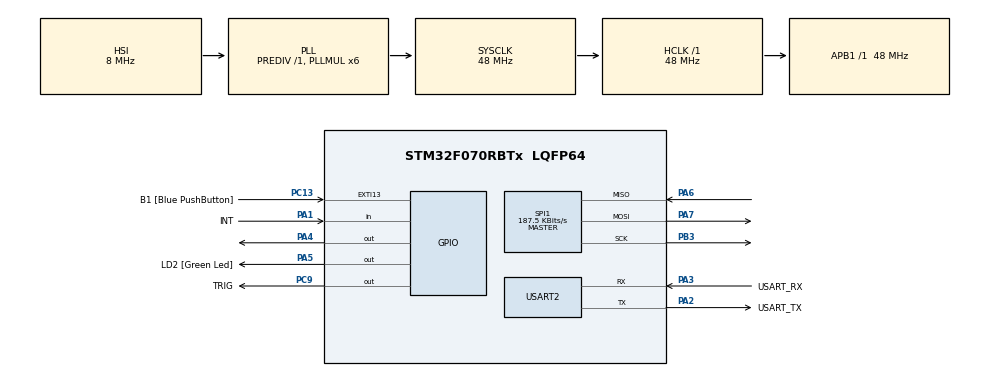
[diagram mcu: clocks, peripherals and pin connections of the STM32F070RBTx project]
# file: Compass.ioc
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FREERTOS.Tasks01=defaultTask,0,128,StartDefaultTask,Default
Mcu.Family=STM32F0
Mcu.Name=STM32F070RBTx
Mcu.Package=LQFP64
NVIC.TIM1_BRK_UP_TRG_COM_IRQn=true\:0\:0\:false
NVIC.TimeBase=TIM1_BRK_UP_TRG_COM_IRQn
NVIC.TimeBaseIP=TIM1
PA1.GPIO_Label=INT
PA1.Signal=GPIO_Input
PA13.GPIO_Label=TMS
PA13.Mode=Serial-WireDebug
PA13.Signal=SYS_SWDIO
PA14.GPIO_Label=TCK
PA14.Mode=Serial-WireDebug
PA14.Signal=SYS_SWCLK
PA2.GPIO_Label=USART_TX
PA2.Mode=Asynchronous
PA2.Signal=USART2_TX
PA3.GPIO_Label=USART_RX
PA3.Mode=Asynchronous
PA3.Signal=USART2_RX
PA4.Signal=GPIO_Output
PA5.GPIO_Label=LD2 [Green Led]
PA5.Signal=GPIO_Output
PA6.Mode=Full_Duplex_Master
PA6.Signal=SPI1_MISO
PA7.Mode=Full_Duplex_Master
PA7.Signal=SPI1_MOSI
PB3.Mode=Full_Duplex_Master
PB3.Signal=SPI1_SCK
PC13.GPIO_Label=B1 [Blue PushButton]
PC13.GPIO_ModeDefaultEXTI=GPIO_MODE_EVT_RISING
PC13.Signal=GPXTI13
PC9.GPIO_Label=TRIG
PC9.Signal=GPIO_Output
ProjectManager.HeapSize=0x400
ProjectManager.StackSize=0x200
ProjectManager.TargetToolchain=SW4STM32
RCC.AHBFreq_Value=48000000
RCC.APB1Freq_Value=48000000
RCC.APB1TimFreq_Value=48000000
RCC.HCLKFreq_Value=48000000
RCC.PLLMUL=RCC_PLL_MUL6
RCC.SYSCLKFreq_VALUE=48000000
RCC.SYSCLKSource=RCC_SYSCLKSOURCE_PLLCLK
SPI1.BaudRatePrescaler=SPI_BAUDRATEPRESCALER_256
SPI1.CLKPhase=SPI_PHASE_2EDGE
SPI1.CLKPolarity=SPI_POLARITY_HIGH
SPI1.CalculateBaudRate=187.5 KBits/s
SPI1.DataSize=SPI_DATASIZE_8BIT
SPI1.Mode=SPI_MODE_MASTER
VP_FREERTOS_VS_ENABLE.Mode=Enabled
VP_SYS_VS_tim1.Mode=TIM1
board=NUCLEO-F070RB

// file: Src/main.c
/**
  ******************************************************************************
  * File Name          : main.c
  * Description        : Main program body
  ******************************************************************************
  *
  * COPYRIGHT(c) 2016 STMicroelectronics
  *
  * Redistribution and use in source and binary forms, with or without modification,
  * are permitted provided that the following conditions are met:
  *   1. Redistributions of source code must retain the above copyright notice,
  *      this list of conditions and the following disclaimer.
  *   2. Redistributions in binary form must reproduce the above copyright notice,
  *      this list of conditions and the following disclaimer in the documentation
  *      and/or other materials provided with the distribution.
  *   3. Neither the name of STMicroelectronics nor the names of its contributors
  *      may be used to endorse or promote products derived from this software
  *      without specific prior written permission.
  *
  * THIS SOFTWARE IS PROVIDED BY THE COPYRIGHT HOLDERS AND CONTRIBUTORS "AS IS"
  * AND ANY EXPRESS OR IMPLIED WARRANTIES, INCLUDING, BUT NOT LIMITED TO, THE
  * IMPLIED WARRANTIES OF MERCHANTABILITY AND FITNESS FOR A PARTICULAR PURPOSE ARE
  * DISCLAIMED. IN NO EVENT SHALL THE COPYRIGHT HOLDER OR CONTRIBUTORS BE LIABLE
  * FOR ANY DIRECT, INDIRECT, INCIDENTAL, SPECIAL, EXEMPLARY, OR CONSEQUENTIAL
  * DAMAGES (INCLUDING, BUT NOT LIMITED TO, PROCUREMENT OF SUBSTITUTE GOODS OR
  * SERVICES; LOSS OF USE, DATA, OR PROFITS; OR BUSINESS INTERRUPTION) HOWEVER
  * CAUSED AND ON ANY THEORY OF LIABILITY, WHETHER IN CONTRACT, STRICT LIABILITY,
  * OR TORT (INCLUDING NEGLIGENCE OR OTHERWISE) ARISING IN ANY WAY OUT OF THE USE
  * OF THIS SOFTWARE, EVEN IF ADVISED OF THE POSSIBILITY OF SUCH DAMAGE.
  *
  ******************************************************************************
  */
#include "stm32f0xx_hal.h"
#include "cmsis_os.h"

/* USER CODE BEGIN Includes */
#include <stdlib.h>
#include <math.h>
// disable optimizations
#pragma GCC push_options
#pragma GCC optimize ("O0")
// cross-platform macros
#define COMP_CS GPIO_PIN_4
#define COMP_CS_P GPIOA
#define COMP_INT GPIO_PIN_1
#define COMP_INT_P GPIOA

#define COMP_RR	1

/* USER CODE END Includes */

SPI_HandleTypeDef hspi1;

UART_HandleTypeDef huart2;

osThreadId defaultTaskHandle;

/* USER CODE BEGIN PV */
/* Private variables ---------------------------------------------------------*/

/* USER CODE END PV */

void SystemClock_Config(void);
static void MX_GPIO_Init(void);
static void MX_USART2_UART_Init(void);
static void MX_SPI1_Init(void);
void StartDefaultTask(void const * argument);

/* USER CODE BEGIN PFP */
/* Private function prototypes -----------------------------------------------*/

/* USER CODE END PFP */

int main(void)
{

  /* MCU Configuration----------------------------------------------------------*/

  /* Reset of all peripherals, Initializes the Flash interface and the Systick. */
  HAL_Init();

  /* Configure the system clock */
  SystemClock_Config();

  /* Initialize all configured peripherals */
  MX_GPIO_Init();
  MX_USART2_UART_Init();
  MX_SPI1_Init();

  /* Create the thread(s) */
  /* definition and creation of defaultTask */
  osThreadDef(defaultTask, StartDefaultTask, osPriorityNormal, 0, 128);
  defaultTaskHandle = osThreadCreate(osThread(defaultTask), NULL);

  /* Start scheduler */
  osKernelStart();

  /* We should never get here as control is now taken by the scheduler */

  /* Infinite loop */
  while (1)
  {

  }

}

/** System Clock Configuration
*/
void SystemClock_Config(void)
{

  RCC_OscInitTypeDef RCC_OscInitStruct;
  RCC_ClkInitTypeDef RCC_ClkInitStruct;

  RCC_OscInitStruct.OscillatorType = RCC_OSCILLATORTYPE_HSI;
  RCC_OscInitStruct.HSIState = RCC_HSI_ON;
  RCC_OscInitStruct.HSICalibrationValue = 16;
  RCC_OscInitStruct.PLL.PLLState = RCC_PLL_ON;
  RCC_OscInitStruct.PLL.PLLSource = RCC_PLLSOURCE_HSI;
  RCC_OscInitStruct.PLL.PLLMUL = RCC_PLL_MUL6;
  RCC_OscInitStruct.PLL.PREDIV = RCC_PREDIV_DIV1;
  HAL_RCC_OscConfig(&RCC_OscInitStruct);

  RCC_ClkInitStruct.ClockType = RCC_CLOCKTYPE_HCLK|RCC_CLOCKTYPE_SYSCLK
                              |RCC_CLOCKTYPE_PCLK1;
  RCC_ClkInitStruct.SYSCLKSource = RCC_SYSCLKSOURCE_PLLCLK;
  RCC_ClkInitStruct.AHBCLKDivider = RCC_SYSCLK_DIV1;
  RCC_ClkInitStruct.APB1CLKDivider = RCC_HCLK_DIV1;
  HAL_RCC_ClockConfig(&RCC_ClkInitStruct, FLASH_LATENCY_1);

  HAL_SYSTICK_Config(HAL_RCC_GetHCLKFreq()/1000);

  HAL_SYSTICK_CLKSourceConfig(SYSTICK_CLKSOURCE_HCLK);

  /* SysTick_IRQn interrupt configuration */
  HAL_NVIC_SetPriority(SysTick_IRQn, 3, 0);
}

/* SPI1 init function */
void MX_SPI1_Init(void)
{

  hspi1.Instance = SPI1;
  hspi1.Init.Mode = SPI_MODE_MASTER;
  hspi1.Init.Direction = SPI_DIRECTION_2LINES;
  hspi1.Init.DataSize = SPI_DATASIZE_8BIT;
  hspi1.Init.CLKPolarity = SPI_POLARITY_HIGH;
  hspi1.Init.CLKPhase = SPI_PHASE_2EDGE;
  hspi1.Init.NSS = SPI_NSS_SOFT;
  hspi1.Init.BaudRatePrescaler = SPI_BAUDRATEPRESCALER_256;
  hspi1.Init.FirstBit = SPI_FIRSTBIT_MSB;
  hspi1.Init.TIMode = SPI_TIMODE_DISABLED;
  hspi1.Init.CRCCalculation = SPI_CRCCALCULATION_DISABLED;
  hspi1.Init.CRCPolynomial = 7;
  hspi1.Init.CRCLength = SPI_CRC_LENGTH_DATASIZE;
  hspi1.Init.NSSPMode = SPI_NSS_PULSE_DISABLED;
  HAL_SPI_Init(&hspi1);

}

/* USART2 init function */
void MX_USART2_UART_Init(void)
{

  huart2.Instance = USART2;
  huart2.Init.BaudRate = 38400;
  huart2.Init.WordLength = UART_WORDLENGTH_8B;
  huart2.Init.StopBits = UART_STOPBITS_1;
  huart2.Init.Parity = UART_PARITY_NONE;
  huart2.Init.Mode = UART_MODE_TX_RX;
  huart2.Init.HwFlowCtl = UART_HWCONTROL_NONE;
  huart2.Init.OverSampling = UART_OVERSAMPLING_16;
  huart2.Init.OneBitSampling = UART_ONEBIT_SAMPLING_DISABLED ;
  huart2.AdvancedInit.AdvFeatureInit = UART_ADVFEATURE_NO_INIT;
  HAL_UART_Init(&huart2);

}

/** Configure pins as
        * Analog
        * Input
        * Output
        * EVENT_OUT
        * EXTI
*/
void MX_GPIO_Init(void)
{

  GPIO_InitTypeDef GPIO_InitStruct;

  /* GPIO Ports Clock Enable */
  __GPIOC_CLK_ENABLE();
  __GPIOA_CLK_ENABLE();
  __GPIOB_CLK_ENABLE();

  /*Configure GPIO pin : B1_Pin */
  GPIO_InitStruct.Pin = B1_Pin;
  GPIO_InitStruct.Mode = GPIO_MODE_EVT_RISING;
  GPIO_InitStruct.Pull = GPIO_NOPULL;
  HAL_GPIO_Init(B1_GPIO_Port, &GPIO_InitStruct);

  /*Configure GPIO pin : INT_Pin */
  GPIO_InitStruct.Pin = INT_Pin;
  GPIO_InitStruct.Mode = GPIO_MODE_INPUT;
  GPIO_InitStruct.Pull = GPIO_NOPULL;
  HAL_GPIO_Init(INT_GPIO_Port, &GPIO_InitStruct);

  /*Configure GPIO pins : PA4 LD2_Pin */
  GPIO_InitStruct.Pin = LD2_Pin;
  GPIO_InitStruct.Mode = GPIO_MODE_OUTPUT_PP;
  GPIO_InitStruct.Pull = GPIO_NOPULL;
  GPIO_InitStruct.Speed = GPIO_SPEED_HIGH;
  HAL_GPIO_Init(GPIOA, &GPIO_InitStruct);

  /*Configure GPIO pins : PA4 LD2_Pin */
  GPIO_InitStruct.Pin = GPIO_PIN_4;
  GPIO_InitStruct.Mode = GPIO_MODE_OUTPUT_PP;
  GPIO_InitStruct.Pull = GPIO_PULLDOWN;
  GPIO_InitStruct.Speed = GPIO_SPEED_HIGH;
  HAL_GPIO_Init(GPIOA, &GPIO_InitStruct);

  /*Configure GPIO pin : TRIG_Pin */
  GPIO_InitStruct.Pin = TRIG_Pin;
  GPIO_InitStruct.Mode = GPIO_MODE_OUTPUT_PP;
  GPIO_InitStruct.Pull = GPIO_NOPULL;
  GPIO_InitStruct.Speed = GPIO_SPEED_LOW;
  HAL_GPIO_Init(TRIG_GPIO_Port, &GPIO_InitStruct);

  /*Configure GPIO pin Output Level */
  HAL_GPIO_WritePin(GPIOA, GPIO_PIN_4|LD2_Pin, GPIO_PIN_RESET);

  /*Configure GPIO pin Output Level */
  HAL_GPIO_WritePin(TRIG_GPIO_Port, TRIG_Pin, GPIO_PIN_RESET);

}

/* USER CODE BEGIN 4 */

// Useful debugging info
void dbg_uartout(uint8_t * inBuf, uint8_t * outBuf, uint8_t * msg)
{
	if(outBuf[0] == 62)	// SSMM
	{
		msg = "SMM:\t";
		HAL_UART_Transmit(&huart2, (uint8_t*)msg, strlen(msg), 0xFFFF);
	}
	else if(outBuf[0] == 78)	// RM
	{
		msg = "RM:\t";
		HAL_UART_Transmit(&huart2, (uint8_t*)msg, strlen(msg), 0xFFFF);
	}
	else if(outBuf[0] == 240)	// RST
	{
		msg = "RST:\t";
		HAL_UART_Transmit(&huart2, (uint8_t*)msg, strlen(msg), 0xFFFF);
	}
	else if(outBuf[0] == 80)	// RR
	{
		msg = "RR:\t";
		HAL_UART_Transmit(&huart2, (uint8_t*)msg, strlen(msg), 0xFFFF);
	}
	if(inBuf[0] & 128)	msg = "BM\t";
	else				msg = "  \t";
	HAL_UART_Transmit(&huart2, (uint8_t*)msg, strlen(msg), 0xFFFF);
	if(inBuf[0] & 64)	msg = "WC\t";
	else				msg = "  \t";
	HAL_UART_Transmit(&huart2, (uint8_t*)msg, strlen(msg), 0xFFFF);
	if(inBuf[0] & 32)	msg = "SM\t";
	else				msg = "  \t";
	HAL_UART_Transmit(&huart2, (uint8_t*)msg, strlen(msg), 0xFFFF);
	if(inBuf[0] & 16)	msg = "ER\t";
	else				msg = "  \t";
	HAL_UART_Transmit(&huart2, (uint8_t*)msg, strlen(msg), 0xFFFF);
	if(inBuf[0] & 8)	msg = "SD\t";
	else				msg = "  \t";
	HAL_UART_Transmit(&huart2, (uint8_t*)msg, strlen(msg), 0xFFFF);
	if(inBuf[0] & 4)	msg = "RS\t";
	else				msg = "  \t";
	HAL_UART_Transmit(&huart2, (uint8_t*)msg, strlen(msg), 0xFFFF);
	if(inBuf[0] & 2)	msg = "D1\t";
	else				msg = "  \t";
	HAL_UART_Transmit(&huart2, (uint8_t*)msg, strlen(msg), 0xFFFF);
	if(inBuf[0] & 1)	msg = "D0\t";
	else				msg = "  \t";
	HAL_UART_Transmit(&huart2, (uint8_t*)msg, strlen(msg), 0xFFFF);
	if(HAL_GPIO_ReadPin(COMP_INT_P, COMP_INT))
	{
		msg = "RDY\t";
		HAL_UART_Transmit(&huart2, (uint8_t*)msg, strlen(msg), 0xFFFF);
	}
	msg = "\n\n\r";
	HAL_UART_Transmit(&huart2, (uint8_t*)msg, strlen(msg), 0xFFFF);
}

// I/O
void send_SPI(uint8_t * inBuf, uint8_t inLength, uint8_t * outBuf, uint8_t outLength)
{
	HAL_GPIO_WritePin(COMP_CS_P, COMP_CS, GPIO_PIN_RESET);
	HAL_SPI_Transmit(&hspi1, outBuf, outLength, 1000);
	HAL_SPI_Receive(&hspi1, inBuf, inLength, 1000);
	HAL_GPIO_WritePin(COMP_CS_P, COMP_CS, GPIO_PIN_SET);
}

// Print results as integers
void compass_uart(int16_t * xyz, uint8_t * msg, int16_t * angle)
{
	sprintf(msg, "x: %5d\t", xyz[0]);
	HAL_UART_Transmit(&huart2, (uint8_t*)msg, strlen(msg), 0xFFFF);
	sprintf(msg, "y: %5d\t", xyz[1]);
	HAL_UART_Transmit(&huart2, (uint8_t*)msg, strlen(msg), 0xFFFF);
	sprintf(msg, "z: %5d\t", xyz[2]);
	HAL_UART_Transmit(&huart2, (uint8_t*)msg, strlen(msg), 0xFFFF);
	sprintf(msg, "a: %d\t", *angle);
	HAL_UART_Transmit(&huart2, (uint8_t*)msg, strlen(msg), 0xFFFF);
	msg = "\n\r";
	HAL_UART_Transmit(&huart2, (uint8_t*)msg, strlen(msg), 0xFFFF);
}

// Convert raw input bits to integers
void processInput(uint8_t * inbuf, int16_t * xyz, int16_t * minmaxxyz)
{
	// FL is off by 2 degrees W: Don't care.
	for(uint8_t i=0; i<3; i++)
	{
		// 2's complement binaries to int16_t
		xyz[i] = ((int16_t)inbuf[i*2+1] << 8 | inbuf[i*2+2]);
		// (optional) use GAIN_SEL to find "real" value
		xyz[i] *= i==2?.294:.161;
		// Update minmaxxyz
		if(xyz[i] < minmaxxyz[2*i])	minmaxxyz[2*i] = xyz[i];
		if(xyz[i] > minmaxxyz[2*i+1])	minmaxxyz[2*i+1] = xyz[i];
		// Normalize results
		xyz[i] -= (minmaxxyz[2*i+1]+minmaxxyz[2*i])/2;
	}
}

/*
 * Calibration: Do a bunch of measurements
 *
 * Measurements/normalization: Save min and max. Med = 0
 */

void calibrate(uint8_t * inbuf, uint8_t * outbuf, int16_t * xyz, int16_t * minmaxxyz)
{
	takemeasurement(inbuf, outbuf);
	for(uint8_t i=0; i<3; i++)
	{
		// 2's complement binaries to int16_t
		xyz[i] = ((int16_t)inbuf[i*2+1] << 8 | inbuf[i*2+2]);
		// (optional) use GAIN_SEL to find "real" value
		xyz[i] *= i==2?.294:.161;
		// Update minmaxxyz
		minmaxxyz[2*i] = xyz[i];
		minmaxxyz[2*1+1] = xyz[i];
	}
	for(uint16_t i=0; i<100; i++)	// TODO replace this with pushbutton
	{
		takemeasurement(inbuf, outbuf);
		processInput(inbuf, xyz, minmaxxyz);
		osDelay(100);
	}
}

void takemeasurement(uint8_t * inbuf, uint8_t * outbuf)
{
	  // Start single measurement mode
	  outbuf[0] = 62;	// 0011zyxt
	  send_SPI(inbuf, 1, outbuf, 1);
	  //dbg_uartout(inbuf, outbuf, msg);

	  while(!HAL_GPIO_ReadPin(COMP_INT_P, COMP_INT));

	  //Read measurement
	  outbuf[0] = 78;
	  send_SPI(inbuf, 7, outbuf, 1);
	  //dbg_uartout(inbuf, outbuf, msg);
}

void getAngle(int16_t * angle, int16_t * xyz)
{
	volatile double tmp = atan((double)xyz[0]/(double)xyz[1]);
	tmp *= (180/3.1428);
	tmp = 90 - tmp;
	if(xyz[1] > 0)	*angle = (int16_t)(90.0 - (atan((double)xyz[0]/(double)xyz[1]) * (180.0 / 3.1428)));
	else if(xyz[1] < 0)	*angle = (int16_t)(270.0 - (atan((double)xyz[0]/(double)xyz[1]) * (180.0 / 3.1428)));
	else if(xyz[0]<0)	*angle = 180;
	else	*angle = 0;
}

// Calibration
/* Find the min and max value
 * Normalize values so that med=0
 */

/* USER CODE END 4 */

/* StartDefaultTask function */
void StartDefaultTask(void const * argument)
{

  /* USER CODE BEGIN 5 */
	uint8_t inbuf[7];
	uint8_t outbuf[2];
	int16_t xyz[3];
	int16_t minmaxxyz[6];	// xmin xmax ymin ymax zmin zmax
	int16_t angle;
	uint8_t * msg = malloc(10);

	// Reset: 11110000 = 0xf0
	outbuf[0] = 0xf0;
	send_SPI(inbuf, 1, outbuf, 1);
	dbg_uartout(inbuf, outbuf, msg);

	calibrate(inbuf, outbuf, xyz, minmaxxyz);

	/*
	// Read register 0
	outbuf[0] = 80;
	outbuf[1] = 0 << 2;
	send_SPI(inbuf, 3, outbuf, 2);
	dbg_uartout(inbuf, outbuf, msg);
	*/

  /* Infinite loop */

  for(;;)
  {
	  takemeasurement(inbuf, outbuf);
	  processInput(inbuf, xyz, minmaxxyz);
	  getAngle(&angle, xyz);
	  compass_uart(xyz, msg, &angle);
	  osDelay(100);	// replace w/sleep
  }
#pragma GCC pop_options
  /* USER CODE END 5 */
}

/************************ (C) COPYRIGHT STMicroelectronics *****END OF FILE****/
